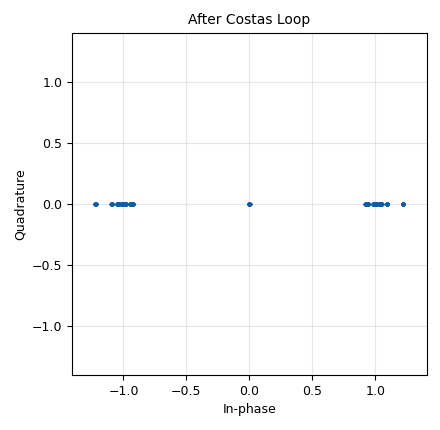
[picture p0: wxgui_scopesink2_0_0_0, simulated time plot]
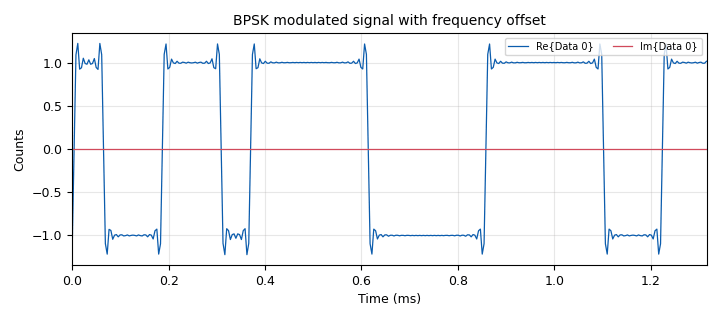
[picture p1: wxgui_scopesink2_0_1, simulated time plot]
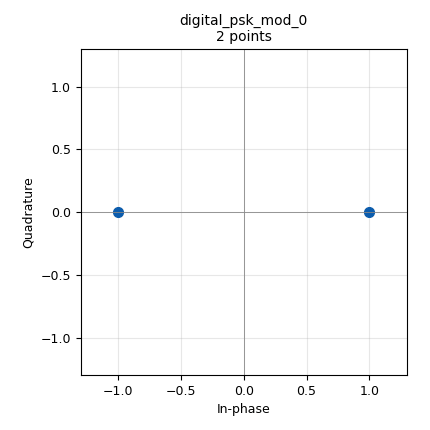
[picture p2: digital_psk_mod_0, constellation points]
<?xml version='1.0' encoding='utf-8'?>
<?grc format='1' created='3.7.8'?>
<flow_graph>
<block>
<key>options</key>
<param><key>id</key><value>top_block</value></param>
<param><key>category</key><value>Custom</value></param>
<param><key>generate_options</key><value>wx_gui</value></param>
</block>
<block>
<key>variable_slider</key>
<param><key>id</key><value>amplitude</value></param>
<param><key>converver</key><value>float_converter</value></param>
<param><key>value</key><value>1</value></param>
<param><key>label</key><value></value></param>
<param><key>max</key><value>2</value></param>
<param><key>min</key><value>0</value></param>
<param><key>num_steps</key><value>100</value></param>
<param><key>style</key><value>wx.SL_HORIZONTAL</value></param>
</block>
<block>
<key>variable_slider</key>
<param><key>id</key><value>freq_add</value></param>
<param><key>converver</key><value>float_converter</value></param>
<param><key>value</key><value>0</value></param>
<param><key>label</key><value></value></param>
<param><key>max</key><value>samp_rate*0.5</value></param>
<param><key>min</key><value>-samp_rate*0.5</value></param>
<param><key>num_steps</key><value>100</value></param>
<param><key>style</key><value>wx.SL_HORIZONTAL</value></param>
</block>
<block>
<key>variable_slider</key>
<param><key>id</key><value>loop_bw</value></param>
<param><key>converver</key><value>float_converter</value></param>
<param><key>value</key><value>0.3</value></param>
<param><key>label</key><value></value></param>
<param><key>max</key><value>0.5</value></param>
<param><key>min</key><value>0</value></param>
<param><key>notebook</key><value>nb, 1</value></param>
<param><key>num_steps</key><value>100</value></param>
<param><key>style</key><value>wx.SL_HORIZONTAL</value></param>
</block>
<block>
<key>variable</key>
<param><key>id</key><value>samp_rate</value></param>
<param><key>value</key><value>2**18</value></param>
</block>
<block>
<key>analog_random_source_x</key>
<param><key>id</key><value>analog_random_source_x_0</value></param>
<param><key>max</key><value>2</value></param>
<param><key>min</key><value>0</value></param>
<param><key>num_samps</key><value>1000</value></param>
<param><key>type</key><value>byte</value></param>
<param><key>repeat</key><value>True</value></param>
</block>
<block>
<key>blocks_complex_to_float</key>
<param><key>id</key><value>blocks_complex_to_float_0</value></param>
<param><key>_enabled</key><value>0</value></param>
</block>
<block>
<key>blocks_interleave</key>
<param><key>id</key><value>blocks_interleave_0</value></param>
<param><key>_enabled</key><value>0</value></param>
<param><key>type</key><value>float</value></param>
</block>
<block>
<key>blocks_multiply_const_vxx</key>
<param><key>id</key><value>blocks_multiply_const_vxx_0</value></param>
<param><key>const</key><value>amplitude</value></param>
<param><key>type</key><value>complex</value></param>
</block>
<block>
<key>blocks_throttle</key>
<param><key>id</key><value>blocks_throttle_0</value></param>
<param><key>samples_per_second</key><value>samp_rate</value></param>
<param><key>type</key><value>complex</value></param>
</block>
<block>
<key>digital_costas_loop_cc</key>
<param><key>id</key><value>digital_costas_loop_cc_0</value></param>
<param><key>w</key><value>loop_bw</value></param>
<param><key>order</key><value>2</value></param>
</block>
<block>
<key>digital_psk_mod</key>
<param><key>id</key><value>digital_psk_mod_0</value></param>
<param><key>differential</key><value>True</value></param>
<param><key>excess_bw</key><value>0.35</value></param>
<param><key>mod_code</key><value>"none"</value></param>
<param><key>constellation_points</key><value>2</value></param>
<param><key>samples_per_symbol</key><value>2</value></param>
</block>
<block>
<key>freq_xlating_fir_filter_xxx</key>
<param><key>id</key><value>freq_xlating_fir_filter_xxx_0</value></param>
<param><key>center_freq</key><value>-freq_add</value></param>
<param><key>decim</key><value>1</value></param>
<param><key>samp_rate</key><value>samp_rate</value></param>
<param><key>taps</key><value>[1]</value></param>
<param><key>type</key><value>ccc</value></param>
</block>
<block>
<key>ha5kfu_execproc_sink_f</key>
<param><key>id</key><value>ha5kfu_execproc_sink_f_0</value></param>
<param><key>commandline</key><value>zsh -c \"csdr timing_recovery_cc GARDNER 16 --add_q --octave 1 1&gt;/dev/null 2&gt; &gt;(octave -i)\"</value></param>
<param><key>_enabled</key><value>0</value></param>
</block>
<block>
<key>ha5kfu_execproc_xx</key>
<param><key>id</key><value>ha5kfu_execproc_xx_0</value></param>
<param><key>commandline</key><value>csdr bpsk_costas_loop_cc 16</value></param>
<param><key>type</key><value>cc</value></param>
</block>
<block>
<key>ha5kfu_execproc_xx</key>
<param><key>id</key><value>ha5kfu_execproc_xx_0_0</value></param>
<param><key>commandline</key><value>csdr timing_recovery_cc GARDNER 16 --add_q | csdr fir_interpolate_cc 8</value></param>
<param><key>_enabled</key><value>0</value></param>
<param><key>type</key><value>cc</value></param>
</block>
<block>
<key>notebook</key>
<param><key>id</key><value>nb</value></param>
<param><key>labels</key><value>['1', '2']</value></param>
<param><key>style</key><value>wx.NB_TOP</value></param>
</block>
<block>
<key>wxgui_fftsink2</key>
<param><key>id</key><value>wxgui_fftsink2_0</value></param>
<param><key>avg_alpha</key><value>0</value></param>
<param><key>average</key><value>False</value></param>
<param><key>baseband_freq</key><value>0</value></param>
<param><key>_enabled</key><value>0</value></param>
<param><key>fft_size</key><value>1024</value></param>
<param><key>freqvar</key><value>None</value></param>
<param><key>peak_hold</key><value>False</value></param>
<param><key>ref_level</key><value>0</value></param>
<param><key>ref_scale</key><value>2.0</value></param>
<param><key>fft_rate</key><value>15</value></param>
<param><key>samp_rate</key><value>samp_rate</value></param>
<param><key>title</key><value>FFT Plot</value></param>
<param><key>type</key><value>complex</value></param>
<param><key>win</key><value>None</value></param>
<param><key>y_divs</key><value>10</value></param>
<param><key>y_per_div</key><value>10</value></param>
</block>
<block>
<key>wxgui_scopesink2</key>
<param><key>id</key><value>wxgui_scopesink2_0</value></param>
<param><key>ac_couple</key><value>False</value></param>
<param><key>_enabled</key><value>0</value></param>
<param><key>num_inputs</key><value>1</value></param>
<param><key>samp_rate</key><value>(samp_rate/256)*8</value></param>
<param><key>t_scale</key><value>0</value></param>
<param><key>title</key><value>After timing recovery</value></param>
<param><key>trig_mode</key><value>wxgui.TRIG_MODE_AUTO</value></param>
<param><key>type</key><value>complex</value></param>
<param><key>v_offset</key><value>0</value></param>
<param><key>v_scale</key><value>0</value></param>
<param><key>xy_mode</key><value>True</value></param>
<param><key>y_axis_label</key><value>Counts</value></param>
</block>
<block>
<key>wxgui_scopesink2</key>
<param><key>id</key><value>wxgui_scopesink2_0_0</value></param>
<param><key>ac_couple</key><value>False</value></param>
<param><key>notebook</key><value>nb, 0</value></param>
<param><key>num_inputs</key><value>1</value></param>
<param><key>samp_rate</key><value>(samp_rate/256)*8</value></param>
<param><key>t_scale</key><value>0</value></param>
<param><key>title</key><value>BPSK modulated signal after Costas Loop</value></param>
<param><key>trig_mode</key><value>wxgui.TRIG_MODE_AUTO</value></param>
<param><key>type</key><value>complex</value></param>
<param><key>v_offset</key><value>0</value></param>
<param><key>v_scale</key><value>0</value></param>
<param><key>xy_mode</key><value>True</value></param>
<param><key>y_axis_label</key><value>Counts</value></param>
</block>
<block>
<key>wxgui_scopesink2</key>
<param><key>id</key><value>wxgui_scopesink2_0_0_0</value></param>
<param><key>ac_couple</key><value>False</value></param>
<param><key>notebook</key><value>nb, 1</value></param>
<param><key>num_inputs</key><value>1</value></param>
<param><key>samp_rate</key><value>(samp_rate/256)*8</value></param>
<param><key>t_scale</key><value>0</value></param>
<param><key>title</key><value>After Costas Loop</value></param>
<param><key>trig_mode</key><value>wxgui.TRIG_MODE_AUTO</value></param>
<param><key>type</key><value>complex</value></param>
<param><key>v_offset</key><value>0</value></param>
<param><key>v_scale</key><value>0</value></param>
<param><key>xy_mode</key><value>True</value></param>
<param><key>y_axis_label</key><value>Counts</value></param>
</block>
<block>
<key>wxgui_scopesink2</key>
<param><key>id</key><value>wxgui_scopesink2_0_1</value></param>
<param><key>ac_couple</key><value>False</value></param>
<param><key>num_inputs</key><value>1</value></param>
<param><key>samp_rate</key><value>samp_rate</value></param>
<param><key>t_scale</key><value>0</value></param>
<param><key>title</key><value>BPSK modulated signal with frequency offset</value></param>
<param><key>trig_mode</key><value>wxgui.TRIG_MODE_AUTO</value></param>
<param><key>type</key><value>complex</value></param>
<param><key>v_offset</key><value>0</value></param>
<param><key>v_scale</key><value>0</value></param>
<param><key>xy_mode</key><value>False</value></param>
<param><key>y_axis_label</key><value>Counts</value></param>
</block>
<connection><source_block_id>analog_random_source_x_0</source_block_id><sink_block_id>digital_psk_mod_0</sink_block_id><source_key>0</source_key><sink_key>0</sink_key></connection>
<connection><source_block_id>blocks_complex_to_float_0</source_block_id><sink_block_id>blocks_interleave_0</sink_block_id><source_key>1</source_key><sink_key>1</sink_key></connection>
<connection><source_block_id>blocks_complex_to_float_0</source_block_id><sink_block_id>blocks_interleave_0</sink_block_id><source_key>0</source_key><sink_key>0</sink_key></connection>
<connection><source_block_id>blocks_interleave_0</source_block_id><sink_block_id>ha5kfu_execproc_sink_f_0</sink_block_id><source_key>0</source_key><sink_key>0</sink_key></connection>
<connection><source_block_id>blocks_multiply_const_vxx_0</source_block_id><sink_block_id>blocks_throttle_0</sink_block_id><source_key>0</source_key><sink_key>0</sink_key></connection>
<connection><source_block_id>blocks_throttle_0</source_block_id><sink_block_id>freq_xlating_fir_filter_xxx_0</sink_block_id><source_key>0</source_key><sink_key>0</sink_key></connection>
<connection><source_block_id>digital_costas_loop_cc_0</source_block_id><sink_block_id>wxgui_scopesink2_0_0_0</sink_block_id><source_key>0</source_key><sink_key>0</sink_key></connection>
<connection><source_block_id>digital_psk_mod_0</source_block_id><sink_block_id>blocks_multiply_const_vxx_0</sink_block_id><source_key>0</source_key><sink_key>0</sink_key></connection>
<connection><source_block_id>freq_xlating_fir_filter_xxx_0</source_block_id><sink_block_id>blocks_complex_to_float_0</sink_block_id><source_key>0</source_key><sink_key>0</sink_key></connection>
<connection><source_block_id>freq_xlating_fir_filter_xxx_0</source_block_id><sink_block_id>digital_costas_loop_cc_0</sink_block_id><source_key>0</source_key><sink_key>0</sink_key></connection>
<connection><source_block_id>freq_xlating_fir_filter_xxx_0</source_block_id><sink_block_id>ha5kfu_execproc_xx_0</sink_block_id><source_key>0</source_key><sink_key>0</sink_key></connection>
<connection><source_block_id>freq_xlating_fir_filter_xxx_0</source_block_id><sink_block_id>wxgui_fftsink2_0</sink_block_id><source_key>0</source_key><sink_key>0</sink_key></connection>
<connection><source_block_id>freq_xlating_fir_filter_xxx_0</source_block_id><sink_block_id>wxgui_scopesink2_0_1</sink_block_id><source_key>0</source_key><sink_key>0</sink_key></connection>
<connection><source_block_id>ha5kfu_execproc_xx_0</source_block_id><sink_block_id>ha5kfu_execproc_xx_0_0</sink_block_id><source_key>0</source_key><sink_key>0</sink_key></connection>
<connection><source_block_id>ha5kfu_execproc_xx_0</source_block_id><sink_block_id>wxgui_scopesink2_0_0</sink_block_id><source_key>0</source_key><sink_key>0</sink_key></connection>
<connection><source_block_id>ha5kfu_execproc_xx_0_0</source_block_id><sink_block_id>wxgui_scopesink2_0</sink_block_id><source_key>0</source_key><sink_key>0</sink_key></connection>
</flow_graph>
